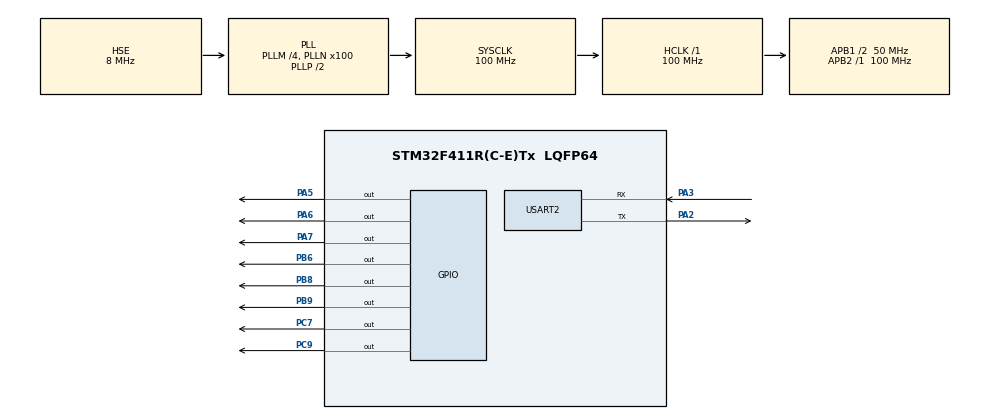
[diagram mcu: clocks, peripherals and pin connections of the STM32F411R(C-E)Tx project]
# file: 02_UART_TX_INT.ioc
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Mcu.Family=STM32F4
Mcu.Name=STM32F411R(C-E)Tx
Mcu.Package=LQFP64
NVIC.PriorityGroup=NVIC_PRIORITYGROUP_4
NVIC.USART2_IRQn=true\:0\:0\:false\:false\:true\:true\:true\:true
PA13.Mode=Serial_Wire
PA13.Signal=SYS_JTMS-SWDIO
PA14.Mode=Serial_Wire
PA14.Signal=SYS_JTCK-SWCLK
PA2.Mode=Asynchronous
PA2.Signal=USART2_TX
PA3.Mode=Asynchronous
PA3.Signal=USART2_RX
PA5.Signal=GPIO_Output
PA6.Signal=GPIO_Output
PA7.Signal=GPIO_Output
PB6.Signal=GPIO_Output
PB8.Signal=GPIO_Output
PB9.Signal=GPIO_Output
PC7.Signal=GPIO_Output
PC9.Signal=GPIO_Output
PH0\ -\ OSC_IN.Mode=HSE-External-Oscillator
PH0\ -\ OSC_IN.Signal=RCC_OSC_IN
PH1\ -\ OSC_OUT.Mode=HSE-External-Oscillator
PH1\ -\ OSC_OUT.Signal=RCC_OSC_OUT
ProjectManager.HeapSize=0x200
ProjectManager.StackSize=0x400
ProjectManager.TargetToolchain=STM32CubeIDE
RCC.48MHZClocksFreq_Value=50000000
RCC.AHBFreq_Value=100000000
RCC.APB1CLKDivider=RCC_HCLK_DIV2
RCC.APB1Freq_Value=50000000
RCC.APB1TimFreq_Value=100000000
RCC.APB2Freq_Value=100000000
RCC.APB2TimFreq_Value=100000000
RCC.CortexFreq_Value=100000000
RCC.HCLKFreq_Value=100000000
RCC.HSE_VALUE=8000000
RCC.HSI_VALUE=16000000
RCC.LSE_VALUE=32768
RCC.PLLM=4
RCC.PLLN=100
RCC.PLLSourceVirtual=RCC_PLLSOURCE_HSE
RCC.SYSCLKFreq_VALUE=100000000
RCC.SYSCLKSource=RCC_SYSCLKSOURCE_PLLCLK
RCC.VCOOutputFreq_Value=200000000
USART2.VirtualMode=VM_ASYNC
board=custom

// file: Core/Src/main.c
/* USER CODE BEGIN Header */
/**
  ******************************************************************************
  * @file           : main.c
  * @brief          : Main program body
  ******************************************************************************
  * @attention
  *
  * Copyright (c) 2025 STMicroelectronics.
  * All rights reserved.
  *
  * This software is licensed under terms that can be found in the LICENSE file
  * in the root directory of this software component.
  * If no LICENSE file comes with this software, it is provided AS-IS.
  *
  ******************************************************************************
  */
/* USER CODE END Header */
#include "main.h"
#include "usart.h"
#include "gpio.h"

/* USER CODE BEGIN Includes */
#include "led.h"
/* USER CODE END Includes */

/* USER CODE BEGIN PV */
volatile uint8_t rxData; // UART 수신 버퍼로 사용 (ISR에 의해 변경됨)

volatile uint8_t rxAFlag = 0; // 'a' 명령어 처리를 위한 플래그
volatile uint8_t rxBFlag = 0; // 'b' 명령어 처리를 위한 플래그
volatile uint8_t rxCFlag = 0; // 기존 플래그, volatile로 변경
volatile uint8_t rxDFlag = 0; // 기존 플래그, volatile로 변경
volatile uint8_t rxFFlag = 0; // 기존 플래그, volatile로 변경

/* USER CODE END PV */

void SystemClock_Config(void);
/* USER CODE BEGIN PFP */

void HAL_UART_RxCpltCallback(UART_HandleTypeDef *huart)
{
  if (huart->Instance == USART2)
  {
    // 현재 수신된 문자는 rxData에 저장되어 있습니다.
    // 다음 문자 수신을 위해 UART 수신 인터럽트를 다시 활성화합니다.
    // 가능한 한 빨리 인터럽트를 재활성화하는 것이 좋습니다.
    HAL_UART_Receive_IT(&huart2, (uint8_t*)&rxData, 1); // 다음 문자를 저장할 버퍼로 volatile rxData 사용

    // 방금 수신된 문자 처리
    if (rxData == 'a'){
      uint8_t _text[] = "LED ON\n";
      HAL_UART_Transmit(&huart2, _text, sizeof(_text), 100);
      rxAFlag = 1; // 'a' 플래그 설정
    }
    else if (rxData == 'b'){
      uint8_t _text[] = "LED OFF\n";
      HAL_UART_Transmit(&huart2, _text, sizeof(_text), 100);
      rxBFlag = 1; // 'b' 플래그 설정
    }
    else if (rxData == 'c'){
      uint8_t _text[] = "LED LEFT SHIFT\n";
      HAL_UART_Transmit(&huart2, _text, sizeof(_text), 100);
      rxCFlag = 1; // 'c' 플래그 설정
    }
    else if (rxData == 'd'){
      uint8_t _text[] = "LED RIGHT SHIFT\n";
      HAL_UART_Transmit(&huart2, _text, sizeof(_text), 100);
      rxDFlag = 1; // 'd' 플래그 설정
    }
    else if (rxData == 'f'){
      uint8_t _text[] = "LED FLOWER\n";
      HAL_UART_Transmit(&huart2, _text, sizeof(_text), 100);
      rxFFlag = 1; // 'd' 플래그 설정
    }
  }
}

/* USER CODE END PFP */

int main(void)
{

  /* MCU Configuration--------------------------------------------------------*/

  /* Reset of all peripherals, Initializes the Flash interface and the Systick. */
  HAL_Init();

  /* Configure the system clock */
  SystemClock_Config();

  /* Initialize all configured peripherals */
  MX_GPIO_Init();
  MX_USART2_UART_Init();
  /* USER CODE BEGIN 2 */

  //HAL_UART_Receive_IT(&huart2, &rxData, sizeof(rxData));
  HAL_UART_Receive_IT(&huart2, (uint8_t*)&rxData, 1);

  /* USER CODE END 2 */

  /* Infinite loop */
  /* USER CODE BEGIN WHILE */
  while (1)
  {
    if (rxAFlag == 1){
      ledOn(8);
      rxAFlag = 0; // 플래그 클리어
    }
    else if (rxBFlag == 1){
      ledOff(8);
      rxBFlag = 0; // 플래그 클리어
    }
    else if (rxCFlag == 1){
      ledLeftShift(8);
      rxCFlag = 0; // 플래그 클리어
    }
    else if (rxDFlag == 1){
      ledRightShift(8);
      rxDFlag = 0; // 플래그 클리어
    }
    else if (rxFFlag == 1){
      ledFlower(8);
      rxFFlag = 0; // 플래그 클리어
    }

    /* USER CODE END WHILE */

  }
}

void SystemClock_Config(void)
{
  RCC_OscInitTypeDef RCC_OscInitStruct = {0};
  RCC_ClkInitTypeDef RCC_ClkInitStruct = {0};

  /** Configure the main internal regulator output voltage
  */
  __HAL_RCC_PWR_CLK_ENABLE();
  __HAL_PWR_VOLTAGESCALING_CONFIG(PWR_REGULATOR_VOLTAGE_SCALE1);

  /** Initializes the RCC Oscillators according to the specified parameters
  * in the RCC_OscInitTypeDef structure.
  */
  RCC_OscInitStruct.OscillatorType = RCC_OSCILLATORTYPE_HSE;
  RCC_OscInitStruct.HSEState = RCC_HSE_ON;
  RCC_OscInitStruct.PLL.PLLState = RCC_PLL_ON;
  RCC_OscInitStruct.PLL.PLLSource = RCC_PLLSOURCE_HSE;
  RCC_OscInitStruct.PLL.PLLM = 4;
  RCC_OscInitStruct.PLL.PLLN = 100;
  RCC_OscInitStruct.PLL.PLLP = RCC_PLLP_DIV2;
  RCC_OscInitStruct.PLL.PLLQ = 4;
  if (HAL_RCC_OscConfig(&RCC_OscInitStruct) != HAL_OK)
  {
    Error_Handler();
  }

  /** Initializes the CPU, AHB and APB buses clocks
  */
  RCC_ClkInitStruct.ClockType = RCC_CLOCKTYPE_HCLK|RCC_CLOCKTYPE_SYSCLK
                              |RCC_CLOCKTYPE_PCLK1|RCC_CLOCKTYPE_PCLK2;
  RCC_ClkInitStruct.SYSCLKSource = RCC_SYSCLKSOURCE_PLLCLK;
  RCC_ClkInitStruct.AHBCLKDivider = RCC_SYSCLK_DIV1;
  RCC_ClkInitStruct.APB1CLKDivider = RCC_HCLK_DIV2;
  RCC_ClkInitStruct.APB2CLKDivider = RCC_HCLK_DIV1;

  if (HAL_RCC_ClockConfig(&RCC_ClkInitStruct, FLASH_LATENCY_3) != HAL_OK)
  {
    Error_Handler();
  }
}

void Error_Handler(void)
{
  __disable_irq();
  while (1)
  {
  }
}
